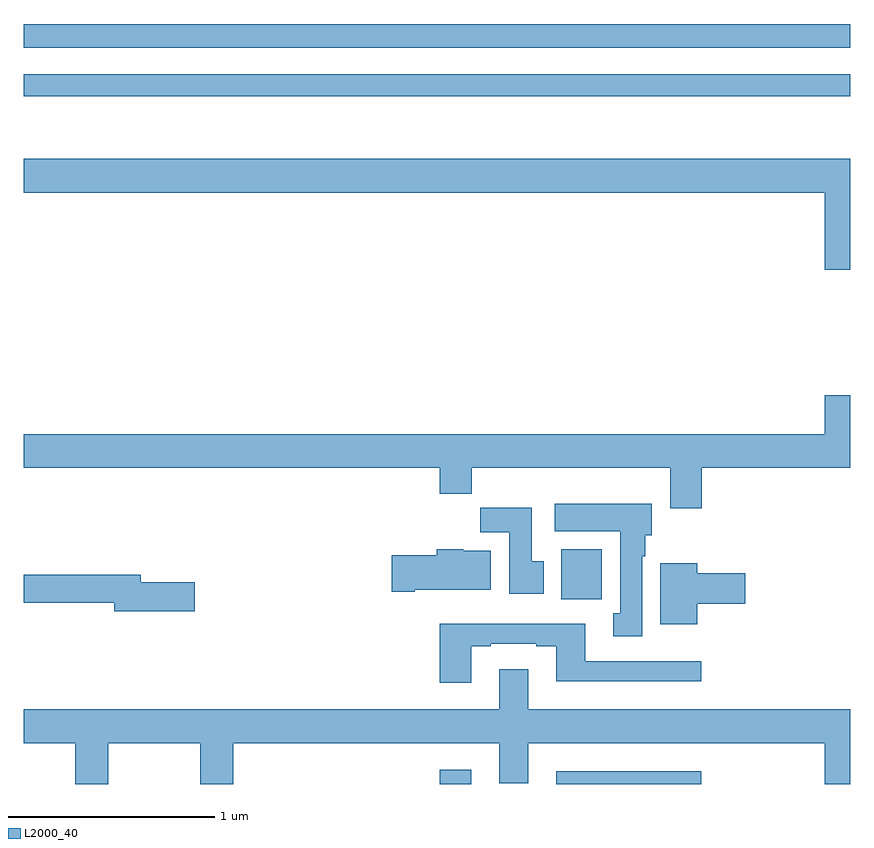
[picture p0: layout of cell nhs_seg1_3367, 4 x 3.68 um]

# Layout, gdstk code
import gdstk
lib = gdstk.Library(unit=1e-6, precision=1e-09)
def R(c, l, rs):  # rectangles x0, y0, x1, y1
    for r in rs: c.add(gdstk.rectangle(r[:2], r[2:], *l))
def P(c, l, *ps):  # polygons
    for p in ps: c.add(gdstk.Polygon(p, *l))
L2000_40 = (2000, 40)

nhs_seg1_3367 = lib.new_cell('nhs_seg1_3367')
R(nhs_seg1_3367, L2000_40, [(295.013,554.199,295.165,554.269), (295.577,554.199,296.278,554.26), (295.601,555.092,295.798,555.334), (293,557.526,297,557.634), (293,557.76,297,557.876)])
P(nhs_seg1_3367, L2000_40, [(297,557.224),(293,557.224),(293,557.06),(296.876,557.06),(296.876,556.686),(297,556.686)],
  [(296.282,555.728),(297,555.728),(297,556.081),(296.876,556.081),(296.876,555.892),(293,555.892),(293,555.728),(295.013,555.728),(295.013,555.604),(295.169,555.604),(295.169,555.728),(296.129,555.728),(296.129,555.534),(296.282,555.534)],
  [(295.993,555.302),(296.008,555.302),(296.008,555.402),(296.038,555.402),(296.038,555.556),(295.569,555.556),(295.569,555.422),(295.886,555.422),(295.886,555.026),(295.853,555.026),(295.853,554.913),(295.993,554.913)],
  [(295.516,555.276),(295.459,555.276),(295.459,555.535),(295.21,555.535),(295.21,555.416),(295.349,555.416),(295.349,555.12),(295.516,555.12)],
  [(294.892,555.14),(295.261,555.14),(295.261,555.328),(295.128,555.328),(295.128,555.334),(294.998,555.334),(294.998,555.306),(294.78,555.306),(294.78,555.128),(294.892,555.128)],
  [(296.26,555.071),(296.491,555.071),(296.491,555.218),(296.26,555.218),(296.26,555.268),(296.081,555.268),(296.081,554.972),(296.26,554.972)],
  [(293.827,555.176),(293.566,555.176),(293.566,555.212),(293,555.212),(293,555.076),(293.438,555.076),(293.438,555.034),(293.827,555.034)],
  [(295.165,554.865),(295.261,554.865),(295.261,554.877),(295.481,554.877),(295.481,554.865),(295.577,554.865),(295.577,554.696),(296.278,554.696),(296.278,554.793),(295.717,554.793),(295.717,554.974),(295.013,554.974),(295.013,554.688),(295.165,554.688)],
  [(293.409,554.396),(293.854,554.396),(293.854,554.199),(294.014,554.199),(294.014,554.396),(295.301,554.396),(295.301,554.202),(295.441,554.202),(295.441,554.396),(296.876,554.396),(296.876,554.199),(297,554.199),(297,554.56),(295.441,554.56),(295.441,554.755),(295.301,554.755),(295.301,554.56),(293,554.56),(293,554.396),(293.249,554.396),(293.249,554.199),(293.409,554.199)])

lib.write_gds('nhs_seg1_3367.gds')
